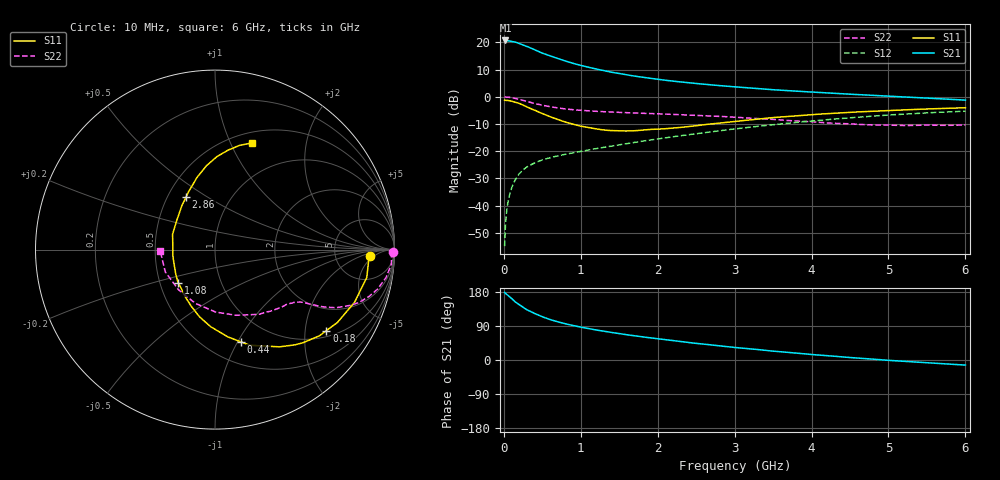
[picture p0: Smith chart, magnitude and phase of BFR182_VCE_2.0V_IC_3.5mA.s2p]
! (c) 2015  Infineon Technologies AG, Munich
! Infineon Technologies  Discrete & RF Semiconductors
! BFR182
! VCE =  2.0 V,  IC =  3.5 mA
! Common Emitter S-Parameters:  Nov 2015
# GHz  S  MA  R  50
!  f  S11  S21  S12  S22
! GHz  MAG  ANG  MAG  ANG  MAG  ANG  MAG  ANG
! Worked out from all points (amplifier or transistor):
!   210 points, 10 MHz to 6 GHz, reference 50 ohm
!   highest |S21| = 20.7 dB at 20 MHz (marker M1)
!   |S21| within 3 dB of that: start of sweep to 368.3 MHz
!   unconditionally stable (mu >= 1): 1.216 GHz to 2.939 GHz
!   at 185 MHz: K = 0.26, MSG = 24.3 dB, |S12| = -28.9 dB
!   at 1.52 GHz: K = 1.06, MAG = 11.5 dB, |S12| = -17.6 dB
!   at 6 GHz: K = 0.89, MSG = 2.0 dB, |S12| = -5.3 dB
!   S11 on the Smith chart (normalised r, x): 10 MHz: 13, -3; 180 MHz: 1.18, -2.60; 440 MHz: 0.72, -1.03; 1.08 GHz: 0.62, -0.25; 2.86 GHz: 0.62, +0.41; 6 GHz: 0.61, +1.21
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0.01  0.8635 -2.2  10.7 178.3  0.0018 86.7  0.9936 -0.9
0.02  0.8583 -4.1  10.81 176.2  0.0041 88.1  0.9845 -1.9
0.05  0.8597 -10.4  10.74 171.0  0.0108 84.4  0.9858 -4.8
0.1  0.8311 -20.7  10.41 162.5  0.0208 78.6  0.9655 -9.3
0.15  0.7937 -30.8  10.1 153.0  0.0301 73.0  0.9319 -13.7
0.18  0.7677 -36.0  9.726 148.9  0.0351 70.6  0.9099 -15.6
0.24  0.7146 -46.5  9.039 140.3  0.0439 66.6  0.8668 -19.2
0.3  0.6505 -56.4  8.416 132.4  0.0514 63.4  0.82 -22.2
0.44  0.5341 -74.3  6.911 119.5  0.0641 58.3  0.7298 -26.2
0.5  0.4912 -81.7  6.325 113.9  0.0692 57.0  0.698 -27.4
0.6  0.4298 -93.3  5.638 106.8  0.0759 55.8  0.6568 -28.6
0.7  0.3842 -103.0  5.05 100.6  0.082 55.2  0.6226 -29.5
0.8  0.3427 -112.6  4.529 95.4  0.0876 54.8  0.5966 -30.2
1.02  0.2847 -132.2  3.702 86.0  0.1005 55.7  0.5604 -31.5
1.08  0.2755 -137.6  3.535 83.8  0.1042 55.8  0.5531 -31.9
1.4  0.239 -165.5  2.823 72.7  0.1239 57.4  0.523 -34.7
2.02  0.2546 153.4  2.074 55.4  0.1693 58.4  0.4858 -41.8
2.86  0.3345 118.8  1.577 36.2  0.2427 55.6  0.4325 -56.4
3.1  0.3635 112.5  1.483 31.3  0.2661 53.9  0.4119 -61.7
4.1  0.4789 94.3  1.197 13.0  0.3683 44.7  0.3385 -93.4
5.1  0.5661 81.3  1.011 -2.1  0.4705 32.3  0.2985 -137.1
6  0.628 71.0  0.867 -13.4  0.5429 19.0  0.3047 -178.4
